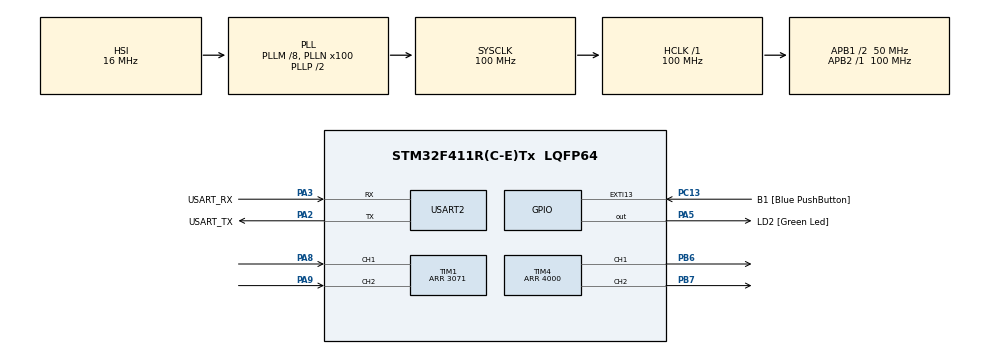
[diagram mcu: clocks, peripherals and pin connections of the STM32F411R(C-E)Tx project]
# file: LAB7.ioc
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Mcu.Family=STM32F4
Mcu.Name=STM32F411R(C-E)Tx
Mcu.Package=LQFP64
NVIC.PriorityGroup=NVIC_PRIORITYGROUP_0
NVIC.TIM2_IRQn=true\:0\:0\:false\:false\:true\:true\:true
NVIC.TIM4_IRQn=true\:0\:0\:false\:false\:true\:true\:true
PA13.GPIO_Label=TMS
PA13.Mode=Serial_Wire
PA13.Signal=SYS_JTMS-SWDIO
PA14.GPIO_Label=TCK
PA14.Mode=Serial_Wire
PA14.Signal=SYS_JTCK-SWCLK
PA2.GPIO_Label=USART_TX
PA2.Mode=Asynchronous
PA2.Signal=USART2_TX
PA3.GPIO_Label=USART_RX
PA3.Mode=Asynchronous
PA3.Signal=USART2_RX
PA5.GPIO_Label=LD2 [Green Led]
PA5.Signal=GPIO_Output
PA8.Signal=S_TIM1_CH1
PA9.Signal=S_TIM1_CH2
PB3.GPIO_Label=SWO
PB3.Signal=SYS_JTDO-SWO
PB6.Signal=S_TIM4_CH1
PB7.Signal=S_TIM4_CH2
PC13-ANTI_TAMP.GPIO_Label=B1 [Blue PushButton]
PC13-ANTI_TAMP.GPIO_ModeDefaultEXTI=GPIO_MODE_IT_FALLING
PC13-ANTI_TAMP.Signal=GPXTI13
PC14-OSC32_IN.Mode=LSE-External-Oscillator
PC14-OSC32_IN.Signal=RCC_OSC32_IN
PC15-OSC32_OUT.Mode=LSE-External-Oscillator
PC15-OSC32_OUT.Signal=RCC_OSC32_OUT
PH0\ -\ OSC_IN.Mode=HSE-External-Clock-Source
PH0\ -\ OSC_IN.Signal=RCC_OSC_IN
PH1\ -\ OSC_OUT.Mode=HSE-External-Clock-Source
PH1\ -\ OSC_OUT.Signal=RCC_OSC_OUT
ProjectManager.HeapSize=0x200
ProjectManager.StackSize=0x400
ProjectManager.TargetToolchain=STM32CubeIDE
RCC.48MHZClocksFreq_Value=50000000
RCC.AHBFreq_Value=100000000
RCC.APB1CLKDivider=RCC_HCLK_DIV2
RCC.APB1Freq_Value=50000000
RCC.APB1TimFreq_Value=100000000
RCC.APB2Freq_Value=100000000
RCC.APB2TimFreq_Value=100000000
RCC.CortexFreq_Value=100000000
RCC.FLatency-AdvancedSettings=FLASH_LATENCY_3
RCC.HCLKFreq_Value=100000000
RCC.HSE_VALUE=8000000
RCC.HSI_VALUE=16000000
RCC.PLLM=8
RCC.PLLN=100
RCC.SYSCLKFreq_VALUE=100000000
RCC.SYSCLKSource=RCC_SYSCLKSOURCE_PLLCLK
RCC.VCOOutputFreq_Value=200000000
SH.S_TIM1_CH1.0=TIM1_CH1,Encoder_Interface
SH.S_TIM1_CH2.0=TIM1_CH2,Encoder_Interface
SH.S_TIM4_CH1.0=TIM4_CH1,PWM Generation1 CH1
SH.S_TIM4_CH2.0=TIM4_CH2,PWM Generation2 CH2
TIM1.EncoderMode=TIM_ENCODERMODE_TI12
TIM1.Period=3071
TIM2.Prescaler=99
TIM4.Channel-PWM\ Generation1\ CH1=TIM_CHANNEL_1
TIM4.Channel-PWM\ Generation2\ CH2=TIM_CHANNEL_2
TIM4.OCMode_PWM-PWM\ Generation2\ CH2=TIM_OCMODE_PWM2
TIM4.Period=4000
USART2.VirtualMode=VM_ASYNC
VP_TIM2_VS_ClockSourceINT.Mode=Internal
VP_TIM4_VS_ClockSourceINT.Mode=Internal
board=NUCLEO-F411RE

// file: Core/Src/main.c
/* USER CODE BEGIN Header */
/**
 ******************************************************************************
 * @file           : main.c
 * @brief          : Main program body
 ******************************************************************************
 * @attention
 *
 * <h2><center>&copy; Copyright (c) 2021 STMicroelectronics.
 * All rights reserved.</center></h2>
 *
 * This software component is licensed by ST under BSD 3-Clause license,
 * the "License"; You may not use this file except in compliance with the
 * License. You may obtain a copy of the License at:
 *                        opensource.org/licenses/BSD-3-Clause
 *
 ******************************************************************************
 */
/* USER CODE END Header */
#include "main.h"

TIM_HandleTypeDef htim1;
TIM_HandleTypeDef htim2;
TIM_HandleTypeDef htim4;

UART_HandleTypeDef huart2;

/* USER CODE BEGIN PV */
uint64_t _micros = 0;
float EncoderVel = 0;
uint64_t Timestamp_Encoder = 0;
uint64_t Timestamp = 0;

uint16_t PWMOut1 = 0;
uint16_t PWMOut2 = 0;

float RPM = 0;
float RPMref = 0;

float e = 0;
float Integrate_e = 0;
float Diff_e = 0;
float Pre_e = 0;
float Sum_e = 0;

float kp = 0;
float ki = 0;
float kd = 0;
float PID = 0;

/* USER CODE END PV */

void SystemClock_Config(void);
static void MX_GPIO_Init(void);
static void MX_USART2_UART_Init(void);
static void MX_TIM1_Init(void);
static void MX_TIM2_Init(void);
static void MX_TIM4_Init(void);
/* USER CODE BEGIN PFP */
uint64_t micros();
float EncoderVelocity_Update();

/* USER CODE END PFP */

int main(void)
{

  /* MCU Configuration--------------------------------------------------------*/

  /* Reset of all peripherals, Initializes the Flash interface and the Systick. */
  HAL_Init();

  /* Configure the system clock */
  SystemClock_Config();

  /* Initialize all configured peripherals */
  MX_GPIO_Init();
  MX_USART2_UART_Init();
  MX_TIM1_Init();
  MX_TIM2_Init();
  MX_TIM4_Init();
  /* USER CODE BEGIN 2 */
	HAL_TIM_Base_Start_IT(&htim2);
	HAL_TIM_Encoder_Start(&htim1, TIM_CHANNEL_ALL);

	HAL_TIM_Base_Start(&htim4);
	HAL_TIM_PWM_Start(&htim4, TIM_CHANNEL_1);
	HAL_TIM_PWM_Start(&htim4, TIM_CHANNEL_2);
  /* USER CODE END 2 */

  /* Infinite loop */
	while (1)
	{

    /* USER CODE BEGIN 3 */

		//Add LPF?
		if (micros() - Timestamp_Encoder >= 1000)
		{
			Timestamp = micros();
			//EncoderVel = (EncoderVel * 1999 + EncoderVelocity_Update()) / 2000.0;

			__HAL_TIM_SET_COMPARE(&htim4, TIM_CHANNEL_1, PWMOut1);
			__HAL_TIM_SET_COMPARE(&htim4, TIM_CHANNEL_2, PWMOut2);

			RPM = (EncoderVel *60)/(12 *64 *4);
			e = (RPMref - RPM);
			Integrate_e = Integrate_e + e ;
			Diff_e = e - Pre_e ;
			PID = ((kp * e) + (ki * Integrate_e) + (kd * Diff_e));

			Pre_e = e;

			__HAL_TIM_SET_COMPARE(&htim4, TIM_CHANNEL_1, PWMOut1);
			__HAL_TIM_SET_COMPARE(&htim4, TIM_CHANNEL_2, PWMOut2);

			if (RPMref > 0)
			{
				PWMOut1 += PID;
				PWMOut2 = 0;
			}

			else if (RPMref < 0)
			{
				PWMOut1 -= PID;
				PWMOut2 = 0;
			}

			else if (RPMref == 0)
			{
				PWMOut1 = 0;
				PWMOut2 = 0;
			}
		}
		if(micros()-Timestamp_Encoder >= 100)
		{
			Timestamp_Encoder = micros();
			EncoderVel = (EncoderVel * 1999 + EncoderVelocity_Update()) / 2000.0;
		}
	}
  /* USER CODE END 3 */
}

void SystemClock_Config(void)
{
  RCC_OscInitTypeDef RCC_OscInitStruct = {0};
  RCC_ClkInitTypeDef RCC_ClkInitStruct = {0};

  /** Configure the main internal regulator output voltage
  */
  __HAL_RCC_PWR_CLK_ENABLE();
  __HAL_PWR_VOLTAGESCALING_CONFIG(PWR_REGULATOR_VOLTAGE_SCALE1);
  /** Initializes the RCC Oscillators according to the specified parameters
  * in the RCC_OscInitTypeDef structure.
  */
  RCC_OscInitStruct.OscillatorType = RCC_OSCILLATORTYPE_HSI;
  RCC_OscInitStruct.HSIState = RCC_HSI_ON;
  RCC_OscInitStruct.HSICalibrationValue = RCC_HSICALIBRATION_DEFAULT;
  RCC_OscInitStruct.PLL.PLLState = RCC_PLL_ON;
  RCC_OscInitStruct.PLL.PLLSource = RCC_PLLSOURCE_HSI;
  RCC_OscInitStruct.PLL.PLLM = 8;
  RCC_OscInitStruct.PLL.PLLN = 100;
  RCC_OscInitStruct.PLL.PLLP = RCC_PLLP_DIV2;
  RCC_OscInitStruct.PLL.PLLQ = 4;
  if (HAL_RCC_OscConfig(&RCC_OscInitStruct) != HAL_OK)
  {
    Error_Handler();
  }
  /** Initializes the CPU, AHB and APB buses clocks
  */
  RCC_ClkInitStruct.ClockType = RCC_CLOCKTYPE_HCLK|RCC_CLOCKTYPE_SYSCLK
                              |RCC_CLOCKTYPE_PCLK1|RCC_CLOCKTYPE_PCLK2;
  RCC_ClkInitStruct.SYSCLKSource = RCC_SYSCLKSOURCE_PLLCLK;
  RCC_ClkInitStruct.AHBCLKDivider = RCC_SYSCLK_DIV1;
  RCC_ClkInitStruct.APB1CLKDivider = RCC_HCLK_DIV2;
  RCC_ClkInitStruct.APB2CLKDivider = RCC_HCLK_DIV1;

  if (HAL_RCC_ClockConfig(&RCC_ClkInitStruct, FLASH_LATENCY_3) != HAL_OK)
  {
    Error_Handler();
  }
}

static void MX_TIM1_Init(void)
{

  TIM_Encoder_InitTypeDef sConfig = {0};
  TIM_MasterConfigTypeDef sMasterConfig = {0};

  htim1.Instance = TIM1;
  htim1.Init.Prescaler = 0;
  htim1.Init.CounterMode = TIM_COUNTERMODE_UP;
  htim1.Init.Period = 3071;
  htim1.Init.ClockDivision = TIM_CLOCKDIVISION_DIV1;
  htim1.Init.RepetitionCounter = 0;
  htim1.Init.AutoReloadPreload = TIM_AUTORELOAD_PRELOAD_DISABLE;
  sConfig.EncoderMode = TIM_ENCODERMODE_TI12;
  sConfig.IC1Polarity = TIM_ICPOLARITY_RISING;
  sConfig.IC1Selection = TIM_ICSELECTION_DIRECTTI;
  sConfig.IC1Prescaler = TIM_ICPSC_DIV1;
  sConfig.IC1Filter = 0;
  sConfig.IC2Polarity = TIM_ICPOLARITY_RISING;
  sConfig.IC2Selection = TIM_ICSELECTION_DIRECTTI;
  sConfig.IC2Prescaler = TIM_ICPSC_DIV1;
  sConfig.IC2Filter = 0;
  if (HAL_TIM_Encoder_Init(&htim1, &sConfig) != HAL_OK)
  {
    Error_Handler();
  }
  sMasterConfig.MasterOutputTrigger = TIM_TRGO_RESET;
  sMasterConfig.MasterSlaveMode = TIM_MASTERSLAVEMODE_DISABLE;
  if (HAL_TIMEx_MasterConfigSynchronization(&htim1, &sMasterConfig) != HAL_OK)
  {
    Error_Handler();
  }

}

static void MX_TIM2_Init(void)
{

  TIM_ClockConfigTypeDef sClockSourceConfig = {0};
  TIM_MasterConfigTypeDef sMasterConfig = {0};

  htim2.Instance = TIM2;
  htim2.Init.Prescaler = 99;
  htim2.Init.CounterMode = TIM_COUNTERMODE_UP;
  htim2.Init.Period = 4294967295;
  htim2.Init.ClockDivision = TIM_CLOCKDIVISION_DIV1;
  htim2.Init.AutoReloadPreload = TIM_AUTORELOAD_PRELOAD_DISABLE;
  if (HAL_TIM_Base_Init(&htim2) != HAL_OK)
  {
    Error_Handler();
  }
  sClockSourceConfig.ClockSource = TIM_CLOCKSOURCE_INTERNAL;
  if (HAL_TIM_ConfigClockSource(&htim2, &sClockSourceConfig) != HAL_OK)
  {
    Error_Handler();
  }
  sMasterConfig.MasterOutputTrigger = TIM_TRGO_RESET;
  sMasterConfig.MasterSlaveMode = TIM_MASTERSLAVEMODE_DISABLE;
  if (HAL_TIMEx_MasterConfigSynchronization(&htim2, &sMasterConfig) != HAL_OK)
  {
    Error_Handler();
  }

}

static void MX_TIM4_Init(void)
{

  TIM_ClockConfigTypeDef sClockSourceConfig = {0};
  TIM_MasterConfigTypeDef sMasterConfig = {0};
  TIM_OC_InitTypeDef sConfigOC = {0};

  htim4.Instance = TIM4;
  htim4.Init.Prescaler = 0;
  htim4.Init.CounterMode = TIM_COUNTERMODE_UP;
  htim4.Init.Period = 10000;
  htim4.Init.ClockDivision = TIM_CLOCKDIVISION_DIV1;
  htim4.Init.AutoReloadPreload = TIM_AUTORELOAD_PRELOAD_DISABLE;
  if (HAL_TIM_Base_Init(&htim4) != HAL_OK)
  {
    Error_Handler();
  }
  sClockSourceConfig.ClockSource = TIM_CLOCKSOURCE_INTERNAL;
  if (HAL_TIM_ConfigClockSource(&htim4, &sClockSourceConfig) != HAL_OK)
  {
    Error_Handler();
  }
  if (HAL_TIM_PWM_Init(&htim4) != HAL_OK)
  {
    Error_Handler();
  }
  sMasterConfig.MasterOutputTrigger = TIM_TRGO_RESET;
  sMasterConfig.MasterSlaveMode = TIM_MASTERSLAVEMODE_DISABLE;
  if (HAL_TIMEx_MasterConfigSynchronization(&htim4, &sMasterConfig) != HAL_OK)
  {
    Error_Handler();
  }
  sConfigOC.OCMode = TIM_OCMODE_PWM1;
  sConfigOC.Pulse = 0;
  sConfigOC.OCPolarity = TIM_OCPOLARITY_HIGH;
  sConfigOC.OCFastMode = TIM_OCFAST_DISABLE;
  if (HAL_TIM_PWM_ConfigChannel(&htim4, &sConfigOC, TIM_CHANNEL_1) != HAL_OK)
  {
    Error_Handler();
  }
  sConfigOC.OCMode = TIM_OCMODE_PWM2;
  if (HAL_TIM_PWM_ConfigChannel(&htim4, &sConfigOC, TIM_CHANNEL_2) != HAL_OK)
  {
    Error_Handler();
  }
  HAL_TIM_MspPostInit(&htim4);

}

static void MX_USART2_UART_Init(void)
{

  huart2.Instance = USART2;
  huart2.Init.BaudRate = 115200;
  huart2.Init.WordLength = UART_WORDLENGTH_8B;
  huart2.Init.StopBits = UART_STOPBITS_1;
  huart2.Init.Parity = UART_PARITY_NONE;
  huart2.Init.Mode = UART_MODE_TX_RX;
  huart2.Init.HwFlowCtl = UART_HWCONTROL_NONE;
  huart2.Init.OverSampling = UART_OVERSAMPLING_16;
  if (HAL_UART_Init(&huart2) != HAL_OK)
  {
    Error_Handler();
  }

}

static void MX_GPIO_Init(void)
{
  GPIO_InitTypeDef GPIO_InitStruct = {0};

  /* GPIO Ports Clock Enable */
  __HAL_RCC_GPIOC_CLK_ENABLE();
  __HAL_RCC_GPIOH_CLK_ENABLE();
  __HAL_RCC_GPIOA_CLK_ENABLE();
  __HAL_RCC_GPIOB_CLK_ENABLE();

  /*Configure GPIO pin Output Level */
  HAL_GPIO_WritePin(LD2_GPIO_Port, LD2_Pin, GPIO_PIN_RESET);

  /*Configure GPIO pin : B1_Pin */
  GPIO_InitStruct.Pin = B1_Pin;
  GPIO_InitStruct.Mode = GPIO_MODE_IT_FALLING;
  GPIO_InitStruct.Pull = GPIO_NOPULL;
  HAL_GPIO_Init(B1_GPIO_Port, &GPIO_InitStruct);

  /*Configure GPIO pin : LD2_Pin */
  GPIO_InitStruct.Pin = LD2_Pin;
  GPIO_InitStruct.Mode = GPIO_MODE_OUTPUT_PP;
  GPIO_InitStruct.Pull = GPIO_NOPULL;
  GPIO_InitStruct.Speed = GPIO_SPEED_FREQ_LOW;
  HAL_GPIO_Init(LD2_GPIO_Port, &GPIO_InitStruct);

}

/* USER CODE BEGIN 4 */
#define  HTIM_ENCODER htim1
#define  MAX_SUBPOSITION_OVERFLOW 1536
#define  MAX_ENCODER_PERIOD 3072

float EncoderVelocity_Update()
{
	//Save Last state
	static uint32_t EncoderLastPosition = 0;
	static uint64_t EncoderLastTimestamp = 0;

	//read data
	uint32_t EncoderNowPosition = HTIM_ENCODER.Instance->CNT;
	uint64_t EncoderNowTimestamp = micros();

	int32_t EncoderPositionDiff;
	uint64_t EncoderTimeDiff;

	EncoderTimeDiff = EncoderNowTimestamp - EncoderLastTimestamp;
	EncoderPositionDiff = EncoderNowPosition - EncoderLastPosition;

	//compensate overflow and underflow
	if (EncoderPositionDiff >= MAX_SUBPOSITION_OVERFLOW)
	{
		EncoderPositionDiff -= MAX_ENCODER_PERIOD;
	}
	else if (-EncoderPositionDiff >= MAX_SUBPOSITION_OVERFLOW)
	{
		EncoderPositionDiff += MAX_ENCODER_PERIOD;
	}

	//Update Position and time
	EncoderLastPosition = EncoderNowPosition;
	EncoderLastTimestamp = EncoderNowTimestamp;

	//Calculate velocity
	//EncoderTimeDiff is in uS
	return (EncoderPositionDiff * 1000000) / (float) EncoderTimeDiff;

}

void HAL_TIM_PeriodElapsedCallback(TIM_HandleTypeDef *htim)
{
	if (htim == &htim2)
	{
		_micros += 4294967295;
	}
}
uint64_t micros()
{
	return _micros + htim2.Instance->CNT;
}
/* USER CODE END 4 */

void Error_Handler(void)
{
	__disable_irq();
	while (1)
	{
	}
}

/************************ (C) COPYRIGHT STMicroelectronics *****END OF FILE****/
